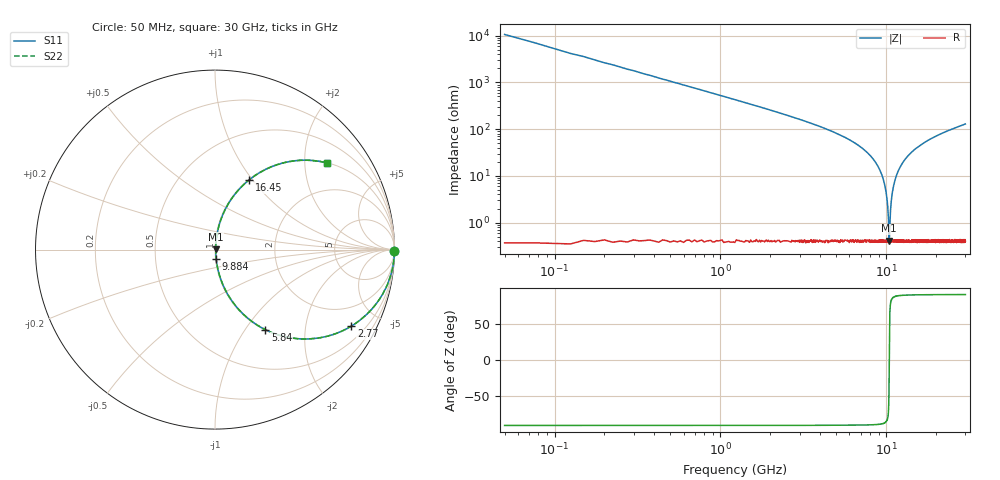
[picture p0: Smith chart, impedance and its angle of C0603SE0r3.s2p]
!	AVX Thin Film Operation 	Date: April 2014
!	Description: Accu-P® Series, Thin Film  SMD RF Capacitor
!	Part Number: 06031J0R3ZBSTR
# MHZ S MA R 50
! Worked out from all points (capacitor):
!   1201 points, 50 MHz to 30 GHz, reference 50 ohm
!   read as one part in series: C = 300 fF near 199.8 MHz
!   lowest |Z| = 410 mohm at 10.43 GHz (marker M1)
!   series resonance near 10.42 GHz, so ESL is about 780 pH
!   S11 on the Smith chart (normalised r, x): 50 MHz: open; 2.77 GHz: 1.01, -3.56; 5.84 GHz: 1.01, -1.25; 9.884 GHz: 1.01, -0.11; 16.45 GHz: 1.01, +0.96; 30 GHz: 1.01, +2.58
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50  1 -0.5  0.009425 89.5  0.009425 89.5  1 -0.5
349.5  0.998 -3.8  0.066 86.2  0.066 86.2  0.998 -3.8
773.792  0.989 -8.3  0.145 81.6  0.145 81.6  0.989 -8.3
1572.458  0.957 -16.9  0.29 73.1  0.29 73.1  0.957 -16.9
2770.458  0.871 -29.3  0.489 60.6  0.489 60.6  0.871 -29.3
5041.667  0.626 -51.0  0.777 38.8  0.777 38.8  0.626 -51.0
5840.333  0.527 -57.8  0.846 31.8  0.846 31.8  0.527 -57.8
8510.875  0.203 -77.2  0.975 11.7  0.975 11.7  0.203 -77.2
9334.5  0.112 -81.6  0.99 6.4  0.99 6.4  0.112 -81.6
9883.583  0.054 -82.7  0.995 3.1  0.995 3.1  0.054 -82.7
10058.29  0.036 -81.6  0.995 2.1  0.995 2.1  0.036 -81.6
10332.83  0.009795 -65.4  0.996 0.5  0.996 0.5  0.009795 -65.4
10432.67  0.004086 11.4  0.996 -0.0  0.996 -0.0  0.004086 11.4
10507.54  0.008998 63.1  0.996 -0.5  0.996 -0.5  0.008998 63.1
10881.92  0.044 82.3  0.995 -2.5  0.995 -2.5  0.044 82.3
11580.75  0.106 81.8  0.99 -6.1  0.99 -6.1  0.106 81.8
12878.58  0.211 76.8  0.974 -12.2  0.974 -12.2  0.211 76.8
15025  0.354 68.6  0.931 -20.8  0.931 -20.8  0.354 68.6
16447.62  0.432 63.9  0.898 -25.6  0.898 -25.6  0.432 63.9
20016.67  0.579 54.3  0.812 -35.3  0.812 -35.3  0.579 54.3
25033.29  0.709 44.6  0.702 -45.2  0.702 -45.2  0.709 44.6
30000  0.789 37.8  0.612 -52.1  0.612 -52.1  0.789 37.8
